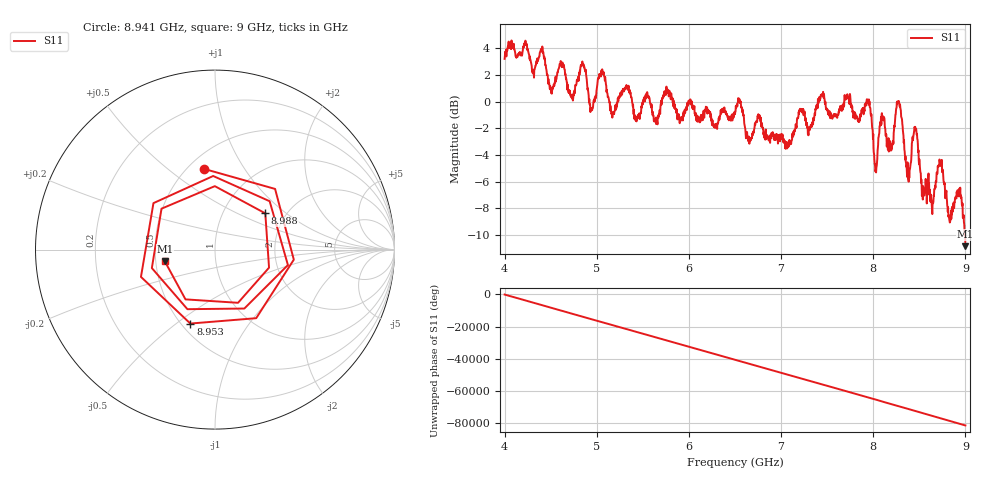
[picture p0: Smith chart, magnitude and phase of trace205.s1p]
! Created with skrf 1.8.0 (http://scikit-rf.org).
# Hz S RI R 50.0
!freq ReS11 ImS11
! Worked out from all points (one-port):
!   1601 points, 4 GHz to 9 GHz, reference 50 ohm
!   lowest |S11| = -10.8 dB at 9 GHz (marker M1), VSWR 1.80, Z = 28 - j4.02 ohm
!   |S11| at or under -10 dB: 8.997495 GHz to end of sweep
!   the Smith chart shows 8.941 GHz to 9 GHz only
!   S11 on the Smith chart (normalised r, x): 8.941 GHz: 0.60, +0.68; 8.953 GHz: 0.55, -0.56; 8.988 GHz: 1.58, +0.72; 9 GHz: 0.56, -0.08
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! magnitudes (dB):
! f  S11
! 4 GHz  3.2
! 4.406 GHz  3.7
! 4.512 GHz  0.6
! 4.625 GHz  2.8
! 4.731 GHz  0.4
! 4.856 GHz  2.8
! 4.941 GHz  -0.5
! 5.05 GHz  2.3
! 5.169 GHz  -1.2
! 5.25 GHz  0.4
! 5.875 GHz  -1.3
! 6.5 GHz  -0.9
! 7.125 GHz  -2.6
! 7.75 GHz  0.5
! 7.947 GHz  -0.1
! 8.028 GHz  -5.1
! 8.094 GHz  -0.9
! 8.194 GHz  -3.3
! 8.275 GHz  0.0
! 8.375 GHz  -5.4
! 8.453 GHz  -1.9
! 8.541 GHz  -6.3
! 8.725 GHz  -4.6
! 8.828 GHz  -9.0
! 8.941 GHz  -6.9
! 8.953 GHz  -7.2
! 8.988 GHz  -9.2
! 9 GHz  -10.8
